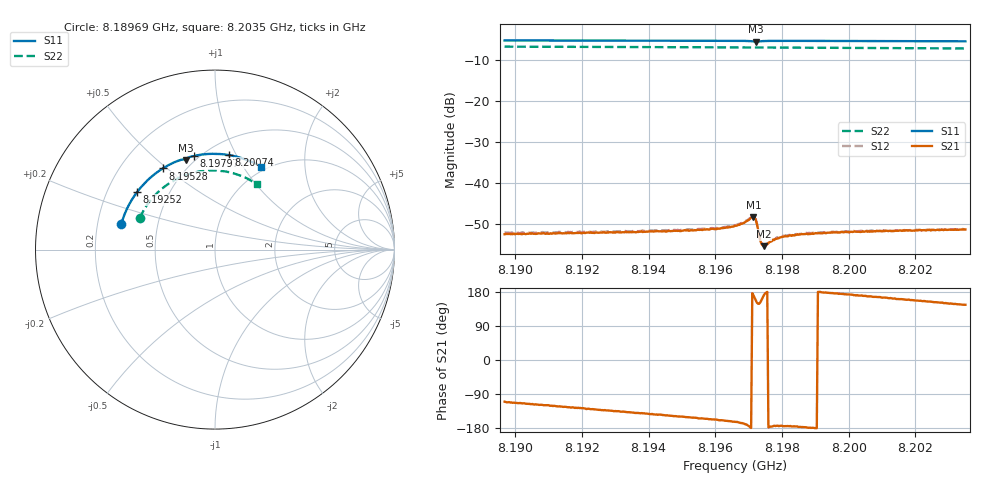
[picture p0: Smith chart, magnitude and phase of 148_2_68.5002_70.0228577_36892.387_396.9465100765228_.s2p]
#  HZ  S  RI  R  50.00
! Rohde & Schwarz Vector Network Analyzer
! Rohde-Schwarz,ZNB20-2Port,1311601062101988,3.16
! Created: UTC 3/20/2024, 4:55:10 PM
! freq[Hz]  re:S11  im:S11  re:S21  im:S21  re:S12  im:S12  re:S22  im:S22
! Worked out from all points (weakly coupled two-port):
!   401 points, 8.18969 GHz to 8.2035 GHz, reference 50 ohm
!   highest |S21| = -48.29 dB at 8.19714 GHz (marker M1); lowest = -55.4 dB at 8.19746 GHz (marker M2)
!   lowest |S11| = -5.6 dB at 8.19721 GHz (marker M3), VSWR 3.19, Z = 22.7 + j31 ohm
!   |S11| at or under -10 dB: nowhere
!   |S22| runs from -7.3 to -6.8 dB; largest |S21 - S12| = 0.00023
!   S11 on the Smith chart (normalised r, x): 8.18969 GHz: 0.30, +0.12; 8.19252 GHz: 0.33, +0.30; 8.19528 GHz: 0.38, +0.48; 8.19797 GHz: 0.47, +0.68; 8.20074 GHz: 0.63, +0.93; 8.2035 GHz: 0.95, +1.21
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8.189686e9  -0.5217 0.1437  -0.000819 -0.00224  -0.000934 -0.0023  -0.4197 0.1756
8.192e9  -0.4548 0.2912  -0.00148 -0.00194  -0.00157 -0.00197  -0.3519 0.2838
8.192518e9  -0.434 0.3209  -0.00165 -0.00186  -0.00173 -0.00188  -0.3327 0.3052
8.194313e9  -0.3467 0.4121  -0.00209 -0.00152  -0.00223 -0.00146  -0.2559 0.369
8.19528e9  -0.2912 0.4521  -0.00235 -0.00126  -0.00241 -0.00118  -0.209 0.3959
8.196074e9  -0.2419 0.4794  -0.00259 -0.00104  -0.00268 -0.000946  -0.1683 0.4134
8.196592e9  -0.2072 0.4943  -0.00288 -0.00088  -0.00298 -0.000756  -0.1407 0.4226
8.196834e9  -0.1899 0.5001  -0.00318 -0.000707  -0.00325 -0.000589  -0.1277 0.4264
8.197076e9  -0.1703 0.5021  -0.00379 -3.46e-05  -0.00382 0.000183  -0.1144 0.4296
8.197145e9  -0.1654 0.4999  -0.0038 0.000623  -0.00385 0.000793  -0.1106 0.4303
8.197214e9  -0.1637 0.4969  -0.00329 0.00135  -0.00331 0.00154  -0.1068 0.4311
8.197249e9  -0.1644 0.4967  -0.0028 0.00153  -0.00277 0.00167  -0.1051 0.4315
8.197352e9  -0.164 0.5023  -0.00176 0.00093  -0.00177 0.001  -0.0995 0.4327
8.197387e9  -0.1622 0.5047  -0.00169 0.000672  -0.00171 0.000763  -0.0975 0.4331
8.197456e9  -0.1576 0.5084  -0.00168 0.000279  -0.00172 0.000358  -0.0937 0.434
8.197801e9  -0.1321 0.5184  -0.00207 -0.000208  -0.00209 -0.000102  -0.0745 0.4372
8.197974e9  -0.1197 0.5215  -0.00218 -0.000254  -0.00225 -0.000169  -0.0648 0.4384
8.198526e9  -0.0802 0.5288  -0.00236 -0.000142  -0.0024 -5.85e-05  -0.0338 0.4409
8.198906e9  -0.0533 0.5318  -0.00244 -5.04e-05  -0.00248 6.35e-05  -0.0122 0.4414
8.200736e9  0.076 0.527  -0.0025 0.000597  -0.00253 0.000686  0.0907 0.4286
8.20122e9  0.1095 0.5204  -0.00251 0.000765  -0.0025 0.000871  0.1172 0.4212
8.203499e9  0.2588 0.4609  -0.00225 0.00154  -0.00216 0.00164  0.2342 0.3638
